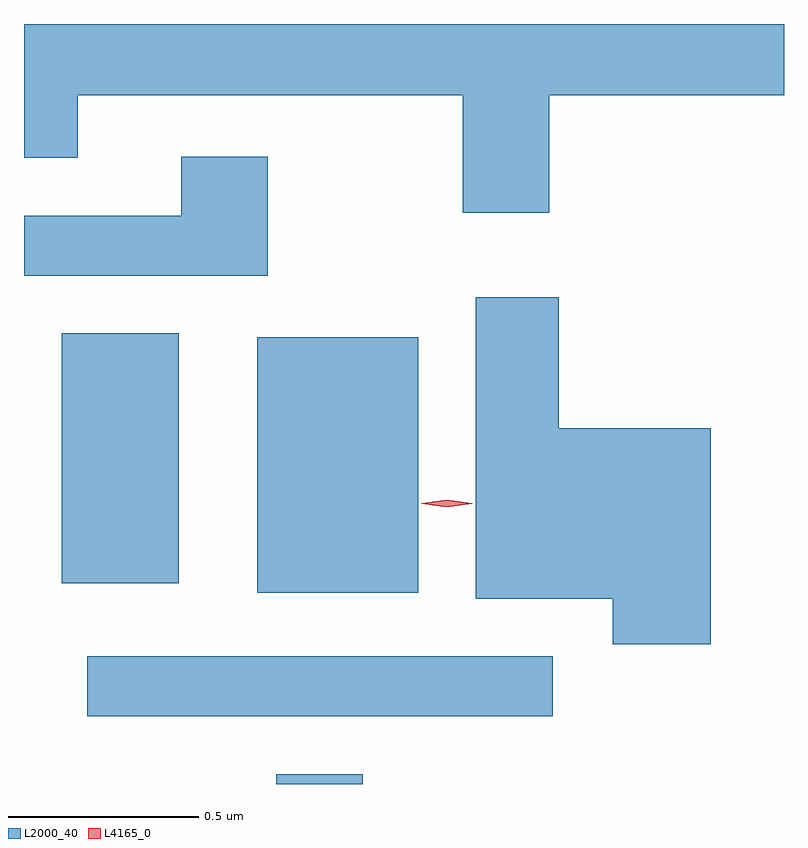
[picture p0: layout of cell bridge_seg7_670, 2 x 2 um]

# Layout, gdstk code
import gdstk
lib = gdstk.Library(unit=1e-6, precision=1e-09)
def R(c, l, rs):  # rectangles x0, y0, x1, y1
    for r in rs: c.add(gdstk.rectangle(r[:2], r[2:], *l))
def P(c, l, *ps):  # polygons
    for p in ps: c.add(gdstk.Polygon(p, *l))
L2000_40 = (2000, 40)
L4165_0 = (4165, 0)

bridge_seg7_670 = lib.new_cell('bridge_seg7_670')
R(bridge_seg7_670, L2000_40, [(625.451,1685.863,625.679,1685.889), (624.953,1686.041,626.178,1686.199), (625.401,1686.366,625.824,1687.039), (624.886,1686.391,625.194,1687.049)])
P(bridge_seg7_670, L2000_40, [(626.169,1687.676),(626.787,1687.676),(626.787,1687.863),(624.787,1687.863),(624.787,1687.511),(624.929,1687.511),(624.929,1687.676),(625.941,1687.676),(625.941,1687.366),(626.169,1687.366)],
  [(625.429,1687.514),(625.201,1687.514),(625.201,1687.359),(624.787,1687.359),(624.787,1687.201),(625.429,1687.201)],
  [(626.594,1686.799),(626.194,1686.799),(626.194,1687.144),(625.976,1687.144),(625.976,1686.351),(626.336,1686.351),(626.336,1686.231),(626.594,1686.231)])
P(bridge_seg7_670, L4165_0, [(625.9,1686.591),(625.834,1686.601),(625.833,1686.601),(625.834,1686.602),(625.9,1686.611),(625.966,1686.602),(625.967,1686.601),(625.966,1686.601)])

lib.write_gds('bridge_seg7_670.gds')
